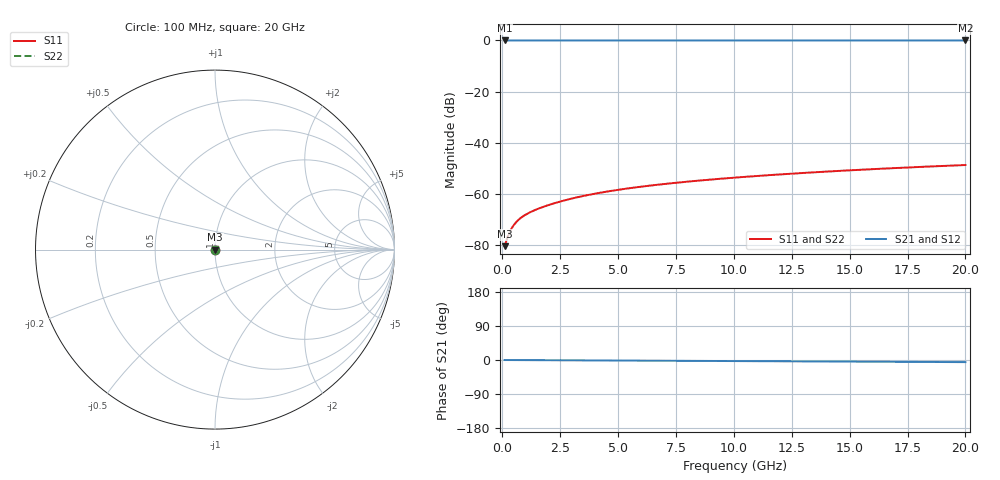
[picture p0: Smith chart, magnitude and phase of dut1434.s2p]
! Touchstone file exported from HFSS 2026.1.0
!  File:  C:/ffzhzh/LocalFiles/Ansys_Project_Files/temp_train_TSV_1434_1783197538_22436.aedt
!  Generated:  04:40:23 AM Jul  5, 2026
!  Design:  TSV
!  Project:  temp_train_TSV_1434_1783197538_22436
! Variables:
!  h_bsmrdl = 2um
!  h_ox = 20um
!  h_rdl = 5um
!  h_sub = 52.28um
!  h_tmrdl = 5um
!  h_tsv = 52.28um
!  h_via = 3um
!  l_bsmrdl = 300um
!  l_sub = 422.2um
!  l_tmrdl = 200um
!  m_sub = 200um
!  pitch = 45.69um
!  r_tsv = 11.1um
!  s_tmrdl = 10um
!  w_bsmrdl = 18um
!  w_sub = 500um
!  w_tmrdl = 12um
!  x_tsv_center1 = 206um
!  x_tsv_center2 = 524um
!  x_tsv_center3 = 736um
!  x_tsv_center4 = 1054um
!  x_tsv_center5 = 1266um
!  x_tsv_center6 = 1584um
# GHz S MA R 50.000000
! Terminal data exported
! Port[1] = TSV1_1_T1
! Port[2] = TSV1_1_T2
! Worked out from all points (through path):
!   200 points, 100 MHz to 20 GHz, reference 50 ohm
!   highest |S21| = 0.00 dB at 100 MHz (marker M1); lowest = 0.0 dB at 20 GHz (marker M2)
!   lowest |S11| = -80.5 dB at 100 MHz (marker M3), VSWR 1.00, Z = 50 + j0.00474 ohm
!   |S11| at or under -10 dB: start of sweep to end of sweep
!   |S22| runs from -80.5 to -48.8 dB; largest |S21 - S12| = 3.4e-15
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0.1  9.403e-05 30.2  0.9999 -0.0  0.9999 -0.0  9.403e-05 30.2
! Gamma 0 0 0 0
! Port Impedance 50 0 50 0
0.3  0.0001691 52.5  0.9999 -0.1  0.9999 -0.1  0.0001691 52.5
0.4  0.0002082 55.3  0.9999 -0.1  0.9999 -0.1  0.0002082 55.3
0.5  0.0002447 56.5  0.9999 -0.1  0.9999 -0.1  0.0002447 56.5
0.6  0.0002781 57.1  0.9998 -0.2  0.9998 -0.2  0.0002781 57.1
0.7  0.0003086 57.4  0.9998 -0.2  0.9998 -0.2  0.0003086 57.4
0.8  0.0003366 57.6  0.9998 -0.2  0.9998 -0.2  0.0003366 57.6
1  0.0003872 58.0  0.9998 -0.3  0.9998 -0.3  0.0003872 58.0
1.2  0.0004331 58.7  0.9998 -0.3  0.9998 -0.3  0.0004331 58.7
1.4  0.0004765 59.5  0.9998 -0.4  0.9998 -0.4  0.0004765 59.5
2  0.000601 62.0  0.9997 -0.6  0.9997 -0.6  0.000601 62.0
2.7  0.0007435 64.3  0.9997 -0.8  0.9997 -0.8  0.0007435 64.3
3.5  0.0009037 66.0  0.9996 -1.0  0.9996 -1.0  0.0009037 66.0
4.2  0.00104 67.0  0.9996 -1.2  0.9996 -1.2  0.00104 67.0
5  0.001192 67.8  0.9996 -1.4  0.9996 -1.4  0.001192 67.8
5.9  0.001356 68.4  0.9995 -1.7  0.9995 -1.7  0.001356 68.4
6.8  0.001516 68.9  0.9995 -1.9  0.9995 -1.9  0.001516 68.9
8.3  0.001775 69.6  0.9994 -2.3  0.9994 -2.3  0.001775 69.6
10.1  0.002076 70.2  0.9994 -2.9  0.9994 -2.9  0.002076 70.2
13.4  0.002615 70.8  0.9993 -3.8  0.9993 -3.8  0.002615 70.8
16.7  0.003138 70.9  0.9992 -4.7  0.9992 -4.7  0.003138 70.9
20  0.003644 70.7  0.9991 -5.6  0.9991 -5.6  0.003644 70.7
